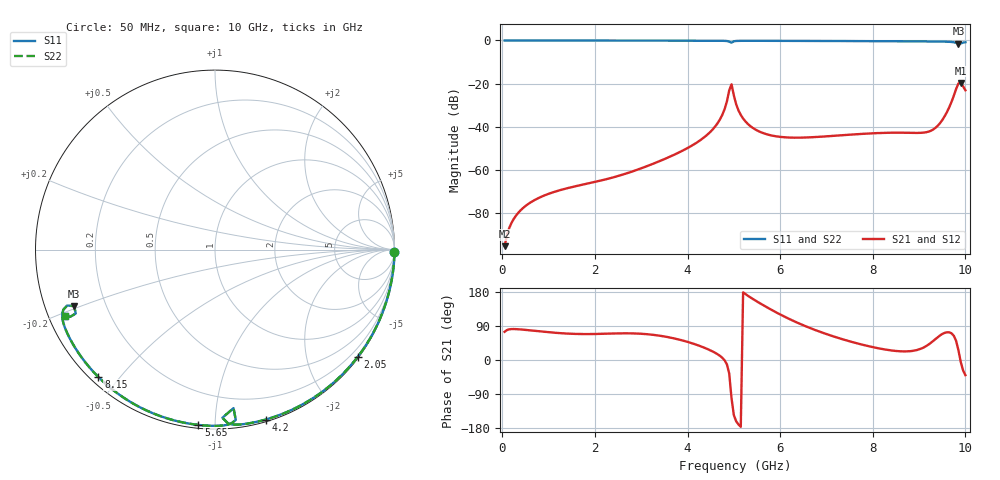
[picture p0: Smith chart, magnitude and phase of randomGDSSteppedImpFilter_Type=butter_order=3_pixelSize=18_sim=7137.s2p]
! freq	dB(S11)	phase(S11)	dB(S12)	phase(S12)
!  dB(S21)	phase(S21)	dB(S22)	phase(S22)
!S-par simulation data
#  GHz  S  DB  R 50
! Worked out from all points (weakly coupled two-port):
!   200 points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, 50 MHz to 10 GHz, reference 50 ohm
!   highest |S21| = -19.61 dB at 9.9 GHz (marker M1); lowest = -95.1 dB at 50 MHz (marker M2)
!   lowest |S11| = -1.5 dB at 9.85 GHz (marker M3), VSWR 11.92, Z = 4.35 - j9.58 ohm
!   |S11| at or under -10 dB: nowhere
!   |S22| runs from -1.5 to 0.0 dB; largest |S21 - S12| = 0
!   S11 on the Smith chart (normalised r, x): 50 MHz: open; 2.05 GHz: 0.03, -2.99; 4.2 GHz: 0.02, -1.34; 5.65 GHz: 0.02, -0.91; 8.15 GHz: 0.02, -0.44; 10 GHz: 0.05, -0.21
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0.05  -0.00 -0.9  -95.15 74.4  -95.15 74.4  -0.00 -0.9
0.3  -0.00 -5.5  -80.90 81.5  -80.90 81.5  -0.00 -5.5
0.85  -0.02 -15.6  -72.21 75.0  -72.21 75.0  -0.02 -15.6
1.75  -0.04 -31.7  -66.62 68.5  -66.62 68.5  -0.04 -31.7
2.05  -0.05 -37.0  -65.19 68.8  -65.19 68.8  -0.05 -37.0
3.4  -0.08 -60.1  -55.79 64.1  -55.79 64.1  -0.08 -60.1
4.2  -0.10 -73.4  -47.24 40.0  -47.24 40.0  -0.10 -73.4
4.5  -0.12 -78.4  -42.12 25.0  -42.12 25.0  -0.12 -78.4
4.7  -0.14 -82.0  -36.53 10.9  -36.53 10.9  -0.14 -82.0
4.8  -0.18 -84.2  -31.81 -0.8  -31.81 -0.8  -0.18 -84.2
4.95  -1.02 -83.3  -20.27 -101.0  -20.27 -101.0  -1.02 -83.3
5.05  -0.23 -84.7  -29.51 -161.5  -29.51 -161.5  -0.23 -84.7
5.25  -0.16 -88.9  -37.45 174.0  -37.45 174.0  -0.16 -88.9
5.65  -0.16 -95.4  -42.99 143.5  -42.99 143.5  -0.16 -95.4
6.7  -0.22 -111.3  -44.75 81.8  -44.75 81.8  -0.22 -111.3
8.15  -0.33 -132.5  -42.81 30.2  -42.81 30.2  -0.33 -132.5
8.35  -0.35 -135.4  -42.69 26.1  -42.69 26.1  -0.35 -135.4
9.3  -0.47 -149.7  -41.24 49.9  -41.24 49.9  -0.47 -149.7
9.55  -0.55 -154.0  -35.14 71.5  -35.14 71.5  -0.55 -154.0
9.85  -1.46 -158.2  -19.87 25.5  -19.87 25.5  -1.46 -158.1
9.9  -1.37 -155.4  -19.61 -5.3  -19.61 -5.3  -1.37 -155.4
10  -0.81 -156.2  -23.04 -40.1  -23.04 -40.1  -0.81 -156.2
